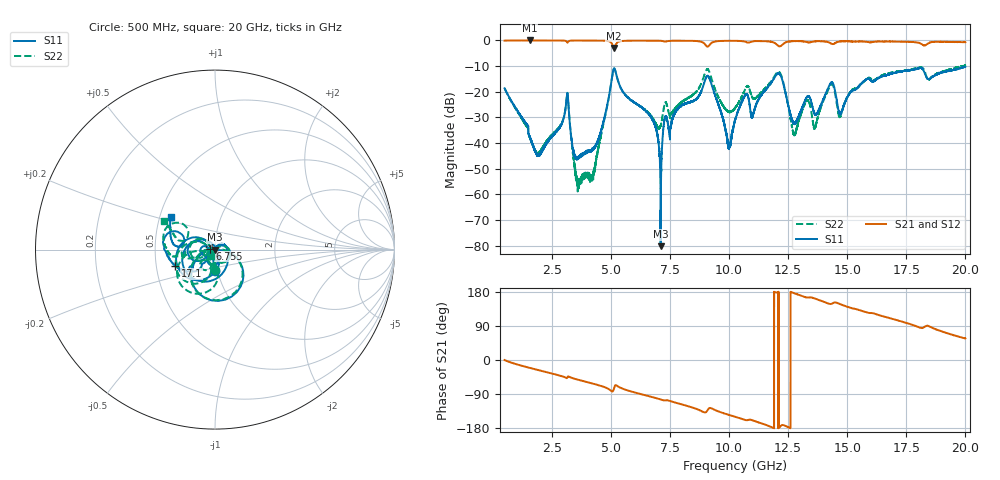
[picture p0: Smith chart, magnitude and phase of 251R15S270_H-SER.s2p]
!{251R15S270}
!Johanson Technology Inc.
!www.johansontechnology.com
!Test Board Conditions:
!Substrate Type  RO4350B
!Substrate Thickness  20 mil
!Substrate Dk  3.66
!TL Type: GCPW
!TL Trace Width  34 mil
!TL Gap  10 mil
!Electrode orientation  Horizontal
!DUT TOPOLOGY	SERIES
!Mounting Pad LxW  26x52 mil
! Created Thu Mar 12 17:12:11 2020
# mhz S ma R 50
! 2 Port Network Data from SP1.SP block
! freq  magS11  angS11  magS21  angS21  magS12  angS12  magS22  angS22
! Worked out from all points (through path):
!   19501 points, 500 MHz to 20 GHz, reference 50 ohm
!   highest |S21| = 0.00 dB at 1.562 GHz (marker M1); lowest = -2.9 dB at 5.127 GHz (marker M2)
!   group delay of S21, straight-line fit = 41.8 ps
!   lowest |S11| = -80.2 dB at 7.104 GHz (marker M3), VSWR 1.00, Z = 50 + j0.00949 ohm
!   |S11| at or under -10 dB: start of sweep to end of sweep
!   |S22| runs from -58.9 to -9.7 dB; largest |S21 - S12| = 0.022
!   S11 on the Smith chart (normalised r, x): 500 MHz: 0.97, -0.23; 6.755 GHz: 0.95, +0.01; 17.1 GHz: 0.63, -0.12; 20 GHz: 0.57, +0.23
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500  0.1167 -90.4  0.9919 -0.1  0.9922 -0.1  0.1162 -90.0
1562  0.01346 -129.6  0.9995 -20.8  0.9994 -20.8  0.01293 -89.5
1984  0.005873 138.8  0.9983 -27.5  0.9984 -27.5  0.006516 -14.6
3140  0.08666 -9.7  0.9254 -47.7  0.9258 -47.7  0.08845 -12.1
3534  0.005069 -71.2  0.9957 -50.8  0.9955 -50.8  0.002293 -149.7
3750  0.005818 -57.1  0.9959 -54.4  0.9953 -54.4  0.002057 141.4
4254  0.007342 -45.8  0.9946 -62.7  0.9941 -62.6  0.002438 62.9
5127  0.2845 -77.9  0.712 -75.2  0.7124 -75.2  0.28 -79.6
6755  0.02834 169.5  0.9897 -97.9  0.9917 -98.0  0.03071 -174.0
7000  0.01185 155.9  0.9875 -102.2  0.9887 -102.2  0.01948 -142.7
7104  9.75e-05 103.2  0.9839 -104.2  0.9842 -104.1  0.02165 -110.3
7305  0.03241 -116.3  0.947 -106.3  0.9472 -106.2  0.06189 -116.0
9074  0.2021 -129.4  0.7589 -134.0  0.7592 -134.0  0.2762 -122.2
9978  0.009154 46.9  0.9835 -144.5  0.9839 -144.6  0.04091 -144.3
10250  0.02775 -49.2  0.9821 -149.7  0.9828 -149.7  0.04778 -114.1
12087  0.2285 -152.7  0.7795 -179.9  0.7823 179.9  0.2462 -143.3
12740  0.02448 173.7  0.9708 176.6  0.9696 176.6  0.0149 -163.8
13500  0.05733 161.4  0.9366 164.7  0.9377 164.7  0.03551 175.4
14313  0.1498 -166.8  0.8715 147.7  0.8751 147.6  0.139 -171.5
16750  0.2188 -149.7  0.9551 111.5  0.9492 111.0  0.2277 -170.1
17098  0.2387 -157.8  0.9462 105.2  0.9465 105.1  0.2476 -172.5
20000  0.3072 143.5  0.9263 56.7  0.924 56.9  0.3253 150.9
